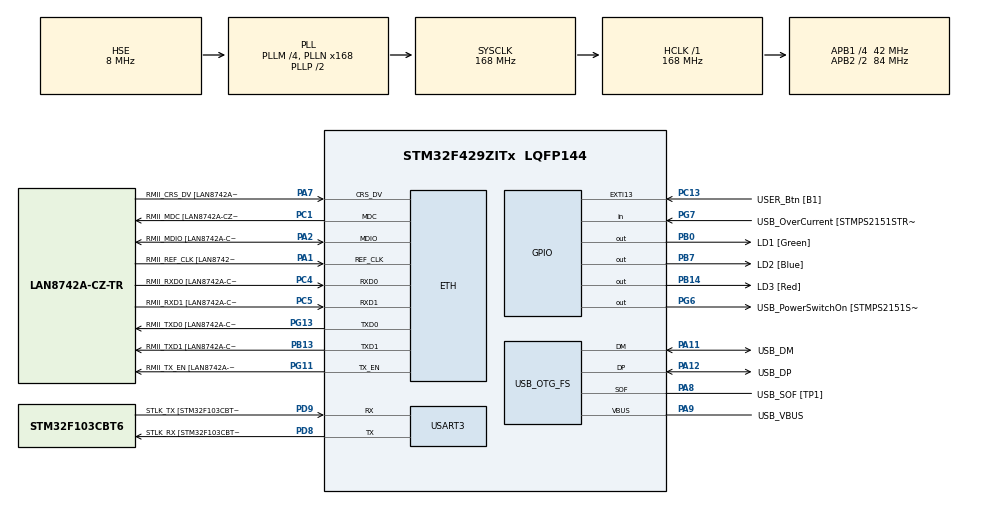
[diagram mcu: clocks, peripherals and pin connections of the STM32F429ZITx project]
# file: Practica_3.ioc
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ETH.MediaInterface=HAL_ETH_RMII_MODE
ETH.PHY_Name=LAN8742A_PHY_ADDRESS
ETH.PHY_Value=0
ETH.PhyAddress=0
Mcu.Family=STM32F4
Mcu.Name=STM32F429ZITx
Mcu.Package=LQFP144
NVIC.PriorityGroup=NVIC_PRIORITYGROUP_4
PA1.GPIO_Label=RMII_REF_CLK [LAN8742A-CZ-TR_REFCLK0]
PA1.Mode=RMII
PA1.Signal=ETH_REF_CLK
PA10.GPIO_Label=USB_ID
PA10.Signal=USB_OTG_FS_ID
PA11.GPIO_Label=USB_DM
PA11.Mode=Device_Only
PA11.Signal=USB_OTG_FS_DM
PA12.GPIO_Label=USB_DP
PA12.Mode=Device_Only
PA12.Signal=USB_OTG_FS_DP
PA13.GPIO_Label=TMS
PA13.Mode=Serial_Wire
PA13.Signal=SYS_JTMS-SWDIO
PA14.GPIO_Label=TCK
PA14.Mode=Serial_Wire
PA14.Signal=SYS_JTCK-SWCLK
PA2.GPIO_Label=RMII_MDIO [LAN8742A-CZ-TR_MDIO]
PA2.Mode=RMII
PA2.Signal=ETH_MDIO
PA7.GPIO_Label=RMII_CRS_DV [LAN8742A-CZ-TR_CRS_DV]
PA7.Mode=RMII
PA7.Signal=ETH_CRS_DV
PA8.GPIO_Label=USB_SOF [TP1]
PA8.Mode=Activate_SOF_FS
PA8.Signal=USB_OTG_FS_SOF
PA9.GPIO_Label=USB_VBUS
PA9.Mode=Activate_VBUS
PA9.Signal=USB_OTG_FS_VBUS
PB0.GPIO_Label=LD1 [Green]
PB0.Signal=GPIO_Output
PB13.GPIO_Label=RMII_TXD1 [LAN8742A-CZ-TR_TXD1]
PB13.Mode=RMII
PB13.Signal=ETH_TXD1
PB14.GPIO_Label=LD3 [Red]
PB14.Signal=GPIO_Output
PB7.GPIO_Label=LD2 [Blue]
PB7.Signal=GPIO_Output
PC1.GPIO_Label=RMII_MDC [LAN8742A-CZ-TR_MDC]
PC1.Mode=RMII
PC1.Signal=ETH_MDC
PC13.GPIO_Label=USER_Btn [B1]
PC13.Signal=GPXTI13
PC14/OSC32_IN.Mode=LSE-External-Oscillator
PC14/OSC32_IN.Signal=RCC_OSC32_IN
PC15/OSC32_OUT.Mode=LSE-External-Oscillator
PC15/OSC32_OUT.Signal=RCC_OSC32_OUT
PC4.GPIO_Label=RMII_RXD0 [LAN8742A-CZ-TR_RXD0]
PC4.Mode=RMII
PC4.Signal=ETH_RXD0
PC5.GPIO_Label=RMII_RXD1 [LAN8742A-CZ-TR_RXD1]
PC5.Mode=RMII
PC5.Signal=ETH_RXD1
PD8.GPIO_Label=STLK_RX [STM32F103CBT6_PA3]
PD8.Mode=Asynchronous
PD8.Signal=USART3_TX
PD9.GPIO_Label=STLK_TX [STM32F103CBT6_PA2]
PD9.Mode=Asynchronous
PD9.Signal=USART3_RX
PG11.GPIO_Label=RMII_TX_EN [LAN8742A-CZ-TR_TXEN]
PG11.Mode=RMII
PG11.Signal=ETH_TX_EN
PG13.GPIO_Label=RMII_TXD0 [LAN8742A-CZ-TR_TXD0]
PG13.Mode=RMII
PG13.Signal=ETH_TXD0
PG6.GPIO_Label=USB_PowerSwitchOn [STMPS2151STR_EN]
PG6.Signal=GPIO_Output
PG7.GPIO_Label=USB_OverCurrent [STMPS2151STR_FAULT]
PG7.Signal=GPIO_Input
PH0/OSC_IN.GPIO_Label=MCO [STM32F103CBT6_PA8]
PH0/OSC_IN.Mode=HSE-External-Clock-Source
PH0/OSC_IN.Signal=RCC_OSC_IN
PH1/OSC_OUT.Mode=HSE-External-Clock-Source
PH1/OSC_OUT.Signal=RCC_OSC_OUT
ProjectManager.HeapSize=0x200
ProjectManager.StackSize=0x400
ProjectManager.TargetToolchain=STM32CubeIDE
RCC.48MHZClocksFreq_Value=48000000
RCC.AHBFreq_Value=168000000
RCC.APB1CLKDivider=RCC_HCLK_DIV4
RCC.APB1Freq_Value=42000000
RCC.APB1TimFreq_Value=84000000
RCC.APB2CLKDivider=RCC_HCLK_DIV2
RCC.APB2Freq_Value=84000000
RCC.APB2TimCLKDivider=2
RCC.APB2TimFreq_Value=168000000
RCC.CortexFreq_Value=168000000
RCC.HCLKFreq_Value=168000000
RCC.HSE_VALUE=8000000
RCC.HSI_VALUE=16000000
RCC.PLLM=4
RCC.PLLMUL=RCC_PLL_MUL9
RCC.PLLN=168
RCC.PLLQ=7
RCC.PRESCALERUSB=RCC_USBCLKSOURCE_PLL_DIV1_5
RCC.SYSCLKFreq_VALUE=168000000
RCC.SYSCLKSource=RCC_SYSCLKSOURCE_PLLCLK
RCC.SYSCLKSourceVirtual=RCC_SYSCLKSOURCE_PLLCLK
RCC.USBFreq_Value=48000000
RCC.VCOOutputFreq_Value=336000000
USART3.VirtualMode=VM_ASYNC
USB_OTG_FS.VirtualMode=Device_Only
board=NUCLEO-F429ZI

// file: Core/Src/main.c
/* USER CODE BEGIN Header */
/**
  ******************************************************************************
  * @file           : main.c
  * @brief          : Main program body
  ******************************************************************************
  * @attention
  *
  * Copyright (c) 2023 STMicroelectronics.
  * All rights reserved.
  *
  * This software is licensed under terms that can be found in the LICENSE file
  * in the root directory of this software component.
  * If no LICENSE file comes with this software, it is provided AS-IS.
  *
  ******************************************************************************
  */
/* USER CODE END Header */
#include "main.h"
#include "string.h"
#include "API_delay.h"

/* USER CODE BEGIN PD */
#define	DURATION	200
#define	LEDS		3
#define	LED_ON			0
#define	LED_OFF			1

/* USER CODE END PD */

ETH_TxPacketConfig TxConfig;
ETH_DMADescTypeDef  DMARxDscrTab[ETH_RX_DESC_CNT]; /* Ethernet Rx DMA Descriptors */
ETH_DMADescTypeDef  DMATxDscrTab[ETH_TX_DESC_CNT]; /* Ethernet Tx DMA Descriptors */

ETH_HandleTypeDef heth;

UART_HandleTypeDef huart3;

PCD_HandleTypeDef hpcd_USB_OTG_FS;

void SystemClock_Config(void);
static void MX_GPIO_Init(void);
static void MX_ETH_Init(void);
static void MX_USART3_UART_Init(void);
static void MX_USB_OTG_FS_PCD_Init(void);

int main(void)
{

  /* MCU Configuration--------------------------------------------------------*/

  /* Reset of all peripherals, Initializes the Flash interface and the Systick. */
  HAL_Init();

  /* Configure the system clock */
  SystemClock_Config();

  /* Initialize all configured peripherals */
  MX_GPIO_Init();
  MX_ETH_Init();
  MX_USART3_UART_Init();
  MX_USB_OTG_FS_PCD_Init();
  /* USER CODE BEGIN 2 */
  uint8_t i = 0;
  uint8_t state = 0;

  uint32_t LedArray[] = {LD1_Pin,LD2_Pin,LD3_Pin};

  delay_t delay;

  /* USER CODE END 2 */

  /* Infinite loop */
  /* USER CODE BEGIN WHILE */
  delayInit(&delay,DURATION);

  while (1)
  {
	  if(delayRead(&delay))
	  {
		  HAL_GPIO_TogglePin(GPIOB,LedArray[i]);
		  state++;
		  if(state > LED_OFF)
		  {
			  state = LED_ON;
			  if(i < LEDS - 1)
				  i++;
			  else
				  i = 0;
		  }
	  }

    /* USER CODE END WHILE */

  }
}

void SystemClock_Config(void)
{
  RCC_OscInitTypeDef RCC_OscInitStruct = {0};
  RCC_ClkInitTypeDef RCC_ClkInitStruct = {0};

  /** Configure the main internal regulator output voltage
  */
  __HAL_RCC_PWR_CLK_ENABLE();
  __HAL_PWR_VOLTAGESCALING_CONFIG(PWR_REGULATOR_VOLTAGE_SCALE1);

  /** Initializes the RCC Oscillators according to the specified parameters
  * in the RCC_OscInitTypeDef structure.
  */
  RCC_OscInitStruct.OscillatorType = RCC_OSCILLATORTYPE_HSE;
  RCC_OscInitStruct.HSEState = RCC_HSE_BYPASS;
  RCC_OscInitStruct.PLL.PLLState = RCC_PLL_ON;
  RCC_OscInitStruct.PLL.PLLSource = RCC_PLLSOURCE_HSE;
  RCC_OscInitStruct.PLL.PLLM = 4;
  RCC_OscInitStruct.PLL.PLLN = 168;
  RCC_OscInitStruct.PLL.PLLP = RCC_PLLP_DIV2;
  RCC_OscInitStruct.PLL.PLLQ = 7;
  if (HAL_RCC_OscConfig(&RCC_OscInitStruct) != HAL_OK)
  {
    Error_Handler();
  }

  /** Initializes the CPU, AHB and APB buses clocks
  */
  RCC_ClkInitStruct.ClockType = RCC_CLOCKTYPE_HCLK|RCC_CLOCKTYPE_SYSCLK
                              |RCC_CLOCKTYPE_PCLK1|RCC_CLOCKTYPE_PCLK2;
  RCC_ClkInitStruct.SYSCLKSource = RCC_SYSCLKSOURCE_PLLCLK;
  RCC_ClkInitStruct.AHBCLKDivider = RCC_SYSCLK_DIV1;
  RCC_ClkInitStruct.APB1CLKDivider = RCC_HCLK_DIV4;
  RCC_ClkInitStruct.APB2CLKDivider = RCC_HCLK_DIV2;

  if (HAL_RCC_ClockConfig(&RCC_ClkInitStruct, FLASH_LATENCY_5) != HAL_OK)
  {
    Error_Handler();
  }
}

static void MX_ETH_Init(void)
{

   static uint8_t MACAddr[6];

  heth.Instance = ETH;
  MACAddr[0] = 0x00;
  MACAddr[1] = 0x80;
  MACAddr[2] = 0xE1;
  MACAddr[3] = 0x00;
  MACAddr[4] = 0x00;
  MACAddr[5] = 0x00;
  heth.Init.MACAddr = &MACAddr[0];
  heth.Init.MediaInterface = HAL_ETH_RMII_MODE;
  heth.Init.TxDesc = DMATxDscrTab;
  heth.Init.RxDesc = DMARxDscrTab;
  heth.Init.RxBuffLen = 1524;

  if (HAL_ETH_Init(&heth) != HAL_OK)
  {
    Error_Handler();
  }

  memset(&TxConfig, 0 , sizeof(ETH_TxPacketConfig));
  TxConfig.Attributes = ETH_TX_PACKETS_FEATURES_CSUM | ETH_TX_PACKETS_FEATURES_CRCPAD;
  TxConfig.ChecksumCtrl = ETH_CHECKSUM_IPHDR_PAYLOAD_INSERT_PHDR_CALC;
  TxConfig.CRCPadCtrl = ETH_CRC_PAD_INSERT;

}

static void MX_USART3_UART_Init(void)
{

  huart3.Instance = USART3;
  huart3.Init.BaudRate = 115200;
  huart3.Init.WordLength = UART_WORDLENGTH_8B;
  huart3.Init.StopBits = UART_STOPBITS_1;
  huart3.Init.Parity = UART_PARITY_NONE;
  huart3.Init.Mode = UART_MODE_TX_RX;
  huart3.Init.HwFlowCtl = UART_HWCONTROL_NONE;
  huart3.Init.OverSampling = UART_OVERSAMPLING_16;
  if (HAL_UART_Init(&huart3) != HAL_OK)
  {
    Error_Handler();
  }

}

static void MX_USB_OTG_FS_PCD_Init(void)
{

  hpcd_USB_OTG_FS.Instance = USB_OTG_FS;
  hpcd_USB_OTG_FS.Init.dev_endpoints = 4;
  hpcd_USB_OTG_FS.Init.speed = PCD_SPEED_FULL;
  hpcd_USB_OTG_FS.Init.dma_enable = DISABLE;
  hpcd_USB_OTG_FS.Init.phy_itface = PCD_PHY_EMBEDDED;
  hpcd_USB_OTG_FS.Init.Sof_enable = ENABLE;
  hpcd_USB_OTG_FS.Init.low_power_enable = DISABLE;
  hpcd_USB_OTG_FS.Init.lpm_enable = DISABLE;
  hpcd_USB_OTG_FS.Init.vbus_sensing_enable = ENABLE;
  hpcd_USB_OTG_FS.Init.use_dedicated_ep1 = DISABLE;
  if (HAL_PCD_Init(&hpcd_USB_OTG_FS) != HAL_OK)
  {
    Error_Handler();
  }

}

static void MX_GPIO_Init(void)
{
  GPIO_InitTypeDef GPIO_InitStruct = {0};

  /* GPIO Ports Clock Enable */
  __HAL_RCC_GPIOC_CLK_ENABLE();
  __HAL_RCC_GPIOH_CLK_ENABLE();
  __HAL_RCC_GPIOA_CLK_ENABLE();
  __HAL_RCC_GPIOB_CLK_ENABLE();
  __HAL_RCC_GPIOD_CLK_ENABLE();
  __HAL_RCC_GPIOG_CLK_ENABLE();

  /*Configure GPIO pin Output Level */
  HAL_GPIO_WritePin(GPIOB, LD1_Pin|LD3_Pin|LD2_Pin, GPIO_PIN_RESET);

  /*Configure GPIO pin Output Level */
  HAL_GPIO_WritePin(USB_PowerSwitchOn_GPIO_Port, USB_PowerSwitchOn_Pin, GPIO_PIN_RESET);

  /*Configure GPIO pin : USER_Btn_Pin */
  GPIO_InitStruct.Pin = USER_Btn_Pin;
  GPIO_InitStruct.Mode = GPIO_MODE_IT_RISING;
  GPIO_InitStruct.Pull = GPIO_NOPULL;
  HAL_GPIO_Init(USER_Btn_GPIO_Port, &GPIO_InitStruct);

  /*Configure GPIO pins : LD1_Pin LD3_Pin LD2_Pin */
  GPIO_InitStruct.Pin = LD1_Pin|LD3_Pin|LD2_Pin;
  GPIO_InitStruct.Mode = GPIO_MODE_OUTPUT_PP;
  GPIO_InitStruct.Pull = GPIO_NOPULL;
  GPIO_InitStruct.Speed = GPIO_SPEED_FREQ_LOW;
  HAL_GPIO_Init(GPIOB, &GPIO_InitStruct);

  /*Configure GPIO pin : USB_PowerSwitchOn_Pin */
  GPIO_InitStruct.Pin = USB_PowerSwitchOn_Pin;
  GPIO_InitStruct.Mode = GPIO_MODE_OUTPUT_PP;
  GPIO_InitStruct.Pull = GPIO_NOPULL;
  GPIO_InitStruct.Speed = GPIO_SPEED_FREQ_LOW;
  HAL_GPIO_Init(USB_PowerSwitchOn_GPIO_Port, &GPIO_InitStruct);

  /*Configure GPIO pin : USB_OverCurrent_Pin */
  GPIO_InitStruct.Pin = USB_OverCurrent_Pin;
  GPIO_InitStruct.Mode = GPIO_MODE_INPUT;
  GPIO_InitStruct.Pull = GPIO_NOPULL;
  HAL_GPIO_Init(USB_OverCurrent_GPIO_Port, &GPIO_InitStruct);

}

void Error_Handler(void)
{
  __disable_irq();
  while (1)
  {
  }
}
